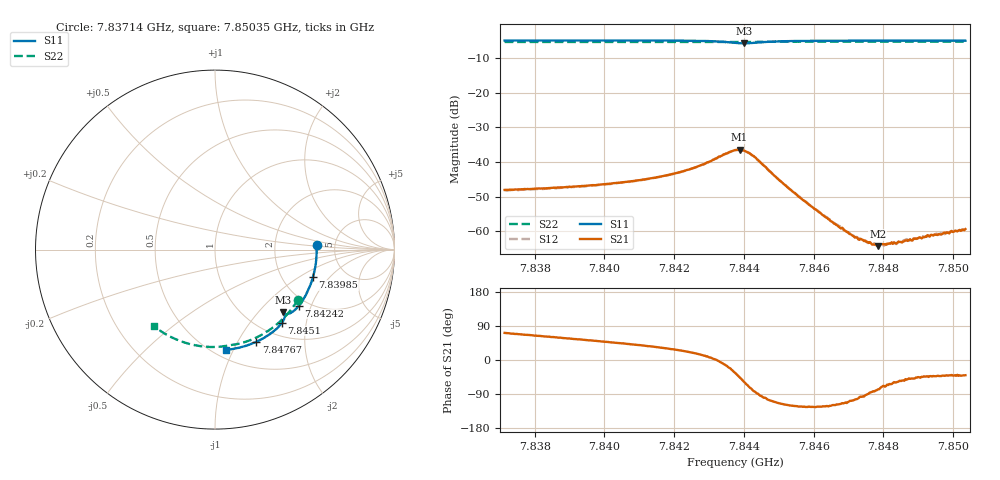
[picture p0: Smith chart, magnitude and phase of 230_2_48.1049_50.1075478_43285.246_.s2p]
#  HZ  S  RI  R  50.00
! Rohde & Schwarz Vector Network Analyzer
! Rohde-Schwarz,ZNB20-2Port,1311601062101988,3.16
! Created: UTC 12/23/2023, 3:57:40 AM
! freq[Hz]  re:S11  im:S11  re:S21  im:S21  re:S12  im:S12  re:S22  im:S22
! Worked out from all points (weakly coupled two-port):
!   401 points, 7.83714 GHz to 7.85035 GHz, reference 50 ohm
!   highest |S21| = -36.44 dB at 7.84388 GHz (marker M1); lowest = -64.3 dB at 7.84784 GHz (marker M2)
!   lowest |S11| = -5.8 dB at 7.84401 GHz (marker M3), VSWR 3.12, Z = 72.5 - j68.8 ohm
!   |S11| at or under -10 dB: nowhere
!   |S22| runs from -5.4 to -5.3 dB; largest |S21 - S12| = 0.00028
!   S11 on the Smith chart (normalised r, x): 7.83714 GHz: 3.59, +0.28; 7.83985 GHz: 2.96, -1.33; 7.84242 GHz: 1.79, -1.64; 7.8451 GHz: 1.24, -1.46; 7.84767 GHz: 0.80, -1.20; 7.85035 GHz: 0.57, -0.93
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7.837138e9  0.5656 0.0268  0.00126 0.00375  0.00129 0.00368  0.4624 -0.2782
7.839351e9  0.5541 -0.1198  0.00266 0.00365  0.00263 0.00356  0.3652 -0.3985
7.839847e9  0.5461 -0.1521  0.00305 0.0036  0.00302 0.00356  0.3388 -0.4212
7.841564e9  0.5019 -0.2608  0.00511 0.00333  0.00506 0.00334  0.2377 -0.4863
7.842423e9  0.4676 -0.3124  0.00727 0.00282  0.00725 0.00285  0.1821 -0.5097
7.842819e9  0.4468 -0.3346  0.00901 0.002  0.00894 0.00206  0.1554 -0.5183
7.843249e9  0.4186 -0.3544  0.0116 -0.000342  0.0116 -0.00027  0.1261 -0.5257
7.843744e9  0.3831 -0.3561  0.0124 -0.00823  0.0123 -0.00814  0.093 -0.531
7.843876e9  0.3791 -0.3517  0.0106 -0.0107  0.0105 -0.0106  0.0845 -0.5322
7.844008e9  0.3794 -0.3484  0.00774 -0.0124  0.00777 -0.0123  0.0762 -0.5335
7.844339e9  0.3883 -0.356  0.000923 -0.0115  0.000974 -0.0115  0.0548 -0.5376
7.845098e9  0.3734 -0.407  -0.00221 -0.00452  -0.00223 -0.00456  0.00169 -0.5428
7.845957e9  0.3306 -0.452  -0.00124 -0.00187  -0.00128 -0.00189  -0.0586 -0.5404
7.846915e9  0.2762 -0.4898  -0.000379 -0.00094  -0.000359 -0.000943  -0.1254 -0.5297
7.847245e9  0.2566 -0.5006  -0.000181 -0.000792  -0.000199 -0.000803  -0.1479 -0.5241
7.847675e9  0.2306 -0.5134  6.67e-05 -0.000642  7.07e-05 -0.000654  -0.1766 -0.5154
7.84784e9  0.2203 -0.518  0.00013 -0.000598  0.000124 -0.00063  -0.1876 -0.5114
7.84817e9  0.1998 -0.5263  0.000299 -0.000598  0.000276 -0.000606  -0.2093 -0.5032
7.848401e9  0.1853 -0.5315  0.000369 -0.000583  0.000372 -0.000572  -0.2243 -0.497
7.8486e9  0.1726 -0.5359  0.000418 -0.000589  0.000463 -0.000589  -0.2369 -0.4911
7.849095e9  0.1408 -0.545  0.000566 -0.000555  0.000614 -0.000605  -0.2678 -0.4753
7.85035e9  0.0587 -0.5594  0.000823 -0.000695  0.000814 -0.000706  -0.3411 -0.4267
